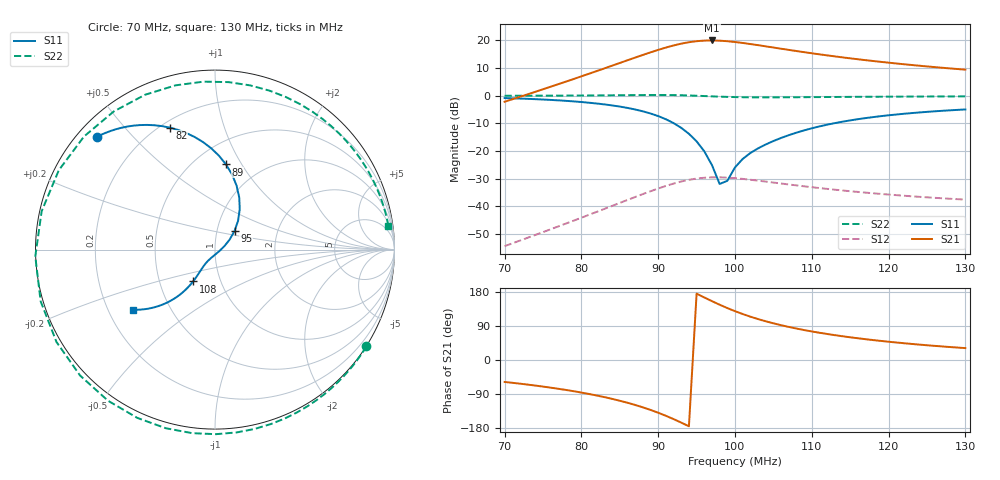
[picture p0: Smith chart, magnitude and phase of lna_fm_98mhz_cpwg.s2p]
# HZ S RI R 50
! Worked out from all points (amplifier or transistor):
!   61 points, 70 MHz to 130 MHz, reference 50 ohm
!   highest |S21| = 20.0 dB at 97 MHz (marker M1)
!   |S21| within 3 dB of that: 90.48 MHz to 106 MHz (15.56 MHz wide, 15.8 % of centre)
!   unconditionally stable (mu >= 1): nowhere
!   at 80 MHz: K = 0.35, MSG = 25.5 dB, |S12| = -44.1 dB
!   at 100 MHz: K = 0.28, MSG = 24.6 dB, |S12| = -29.8 dB
!   at 130 MHz: K = 0.29, MSG = 23.5 dB, |S12| = -37.5 dB
!   S11 on the Smith chart (normalised r, x): 70 MHz: 0.06, +0.40; 82 MHz: 0.23, +0.67; 89 MHz: 0.70, +0.86; 95 MHz: 1.21, +0.26; 108 MHz: 0.74, -0.28; 130 MHz: 0.30, -0.30
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7e7  -0.6572 0.6284  0.4143 -0.6607  0.0018 0.000675  0.8439 -0.5396
7.5e7  -0.521 0.6788  0.445 -1.234  0.0034 0.000563  0.7427 -0.6772
8e7  -0.3382 0.6929  0.1581 -2.239  0.00624 -0.000595  0.5657 -0.8388
8.2e7  -0.2522 0.6796  -0.1813 -2.793  0.0078 -0.00178  0.4566 -0.9073
8.6e7  -0.0671 0.5994  -1.702 -4.037  0.0112 -0.00682  0.1216 -1.019
8.9e7  0.0613 0.4747  -4.055 -4.542  0.0122 -0.0144  -0.2748 -0.995
9e7  0.0948 0.419  -5.109 -4.411  0.0115 -0.0177  -0.4333 -0.9375
9.2e7  0.135 0.2914  -7.407 -3.306  0.00736 -0.0249  -0.7517 -0.7016
9.4e7  0.1285 0.1605  -9.247 -0.8204  -0.00116 -0.0303  -0.9714 -0.2882
9.5e7  0.1087 0.1035  -9.651 0.8288  -0.00666 -0.0312  -1.001 -0.0376
9.6e7  0.0819 0.0562  -9.589 2.555  -0.0123 -0.0307  -0.9657 0.2138
9.7e7  0.0525 0.0194  -9.072 4.177  -0.0176 -0.0286  -0.8702 0.4423
9.9e7  -0.000683 -0.0291  -7.082 6.59  -0.0253 -0.0215  -0.5636 0.7701
1e8  -0.0213 -0.0462  -5.875 7.293  -0.0274 -0.0174  -0.3895 0.8628
1.02e8  -0.0518 -0.0766  -3.551 7.844  -0.0289 -0.00948  -0.0642 0.9357
1.04e8  -0.0749 -0.1086  -1.648 7.645  -0.028 -0.00304  0.1983 0.9145
1.06e8  -0.0973 -0.143  -0.2284 7.08  -0.0259 0.00176  0.3959 0.8496
1.08e8  -0.1222 -0.1776  0.7819 6.383  -0.0235 0.00519  0.5418 0.7691
1.1e8  -0.1504 -0.2102  1.482 5.671  -0.021 0.00759  0.6493 0.6864
1.14e8  -0.214 -0.2645  2.267 4.389  -0.0165 0.0104  0.7897 0.534
1.2e8  -0.3137 -0.3142  2.639 2.955  -0.0114 0.0118  0.8982 0.3494
1.3e8  -0.4564 -0.3351  2.532 1.544  -0.00627 0.0117  0.9664 0.1306
